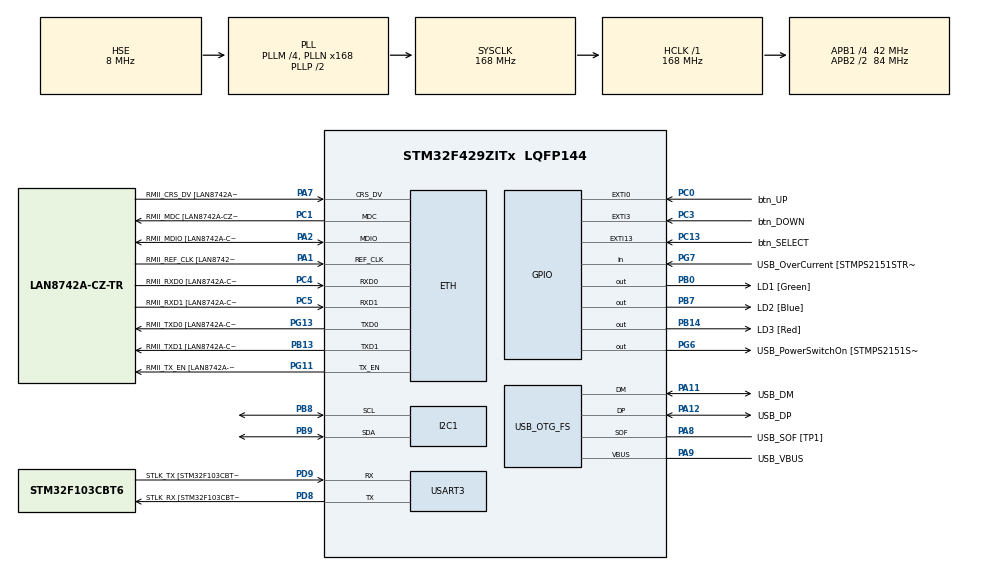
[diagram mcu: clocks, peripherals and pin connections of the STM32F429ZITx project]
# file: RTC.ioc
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ETH.MediaInterface=HAL_ETH_RMII_MODE
ETH.PHY_Name=LAN8742A_PHY_ADDRESS
ETH.PHY_Value=0
ETH.PhyAddress=0
Mcu.Family=STM32F4
Mcu.Name=STM32F429ZITx
Mcu.Package=LQFP144
NVIC.EXTI0_IRQn=true\:0\:0\:false\:true\:true\:3\:true\:true\:true
NVIC.EXTI3_IRQn=true\:0\:0\:false\:true\:true\:1\:true\:true\:true
NVIC.PriorityGroup=NVIC_PRIORITYGROUP_4
PA1.GPIO_Label=RMII_REF_CLK [LAN8742A-CZ-TR_REFCLK0]
PA1.Mode=RMII
PA1.Signal=ETH_REF_CLK
PA10.GPIO_Label=USB_ID
PA10.Signal=USB_OTG_FS_ID
PA11.GPIO_Label=USB_DM
PA11.Mode=Device_Only
PA11.Signal=USB_OTG_FS_DM
PA12.GPIO_Label=USB_DP
PA12.Mode=Device_Only
PA12.Signal=USB_OTG_FS_DP
PA13.GPIO_Label=TMS
PA13.Mode=Serial_Wire
PA13.Signal=SYS_JTMS-SWDIO
PA14.GPIO_Label=TCK
PA14.Mode=Serial_Wire
PA14.Signal=SYS_JTCK-SWCLK
PA2.GPIO_Label=RMII_MDIO [LAN8742A-CZ-TR_MDIO]
PA2.Mode=RMII
PA2.Signal=ETH_MDIO
PA7.GPIO_Label=RMII_CRS_DV [LAN8742A-CZ-TR_CRS_DV]
PA7.Mode=RMII
PA7.Signal=ETH_CRS_DV
PA8.GPIO_Label=USB_SOF [TP1]
PA8.Mode=Activate_SOF_FS
PA8.Signal=USB_OTG_FS_SOF
PA9.GPIO_Label=USB_VBUS
PA9.Mode=Activate_VBUS
PA9.Signal=USB_OTG_FS_VBUS
PB0.GPIO_Label=LD1 [Green]
PB0.Signal=GPIO_Output
PB13.GPIO_Label=RMII_TXD1 [LAN8742A-CZ-TR_TXD1]
PB13.Mode=RMII
PB13.Signal=ETH_TXD1
PB14.GPIO_Label=LD3 [Red]
PB14.Signal=GPIO_Output
PB7.GPIO_Label=LD2 [Blue]
PB7.Signal=GPIO_Output
PB8.Mode=I2C
PB8.Signal=I2C1_SCL
PB9.Mode=I2C
PB9.Signal=I2C1_SDA
PC0.GPIO_Label=btn_UP
PC0.GPIO_PuPd=GPIO_PULLUP
PC0.Signal=GPXTI0
PC1.GPIO_Label=RMII_MDC [LAN8742A-CZ-TR_MDC]
PC1.Mode=RMII
PC1.Signal=ETH_MDC
PC13.GPIO_Label=btn_SELECT
PC13.GPIO_ModeDefaultEXTI=GPIO_MODE_IT_RISING
PC13.GPIO_PuPd=GPIO_NOPULL
PC13.Signal=GPXTI13
PC14/OSC32_IN.Mode=LSE-External-Oscillator
PC14/OSC32_IN.Signal=RCC_OSC32_IN
PC15/OSC32_OUT.Mode=LSE-External-Oscillator
PC15/OSC32_OUT.Signal=RCC_OSC32_OUT
PC3.GPIO_Label=btn_DOWN
PC3.GPIO_PuPd=GPIO_PULLUP
PC3.Signal=GPXTI3
PC4.GPIO_Label=RMII_RXD0 [LAN8742A-CZ-TR_RXD0]
PC4.Mode=RMII
PC4.Signal=ETH_RXD0
PC5.GPIO_Label=RMII_RXD1 [LAN8742A-CZ-TR_RXD1]
PC5.Mode=RMII
PC5.Signal=ETH_RXD1
PD8.GPIO_Label=STLK_RX [STM32F103CBT6_PA3]
PD8.Mode=Asynchronous
PD8.Signal=USART3_TX
PD9.GPIO_Label=STLK_TX [STM32F103CBT6_PA2]
PD9.Mode=Asynchronous
PD9.Signal=USART3_RX
PG11.GPIO_Label=RMII_TX_EN [LAN8742A-CZ-TR_TXEN]
PG11.Mode=RMII
PG11.Signal=ETH_TX_EN
PG13.GPIO_Label=RMII_TXD0 [LAN8742A-CZ-TR_TXD0]
PG13.Mode=RMII
PG13.Signal=ETH_TXD0
PG6.GPIO_Label=USB_PowerSwitchOn [STMPS2151STR_EN]
PG6.Signal=GPIO_Output
PG7.GPIO_Label=USB_OverCurrent [STMPS2151STR_FAULT]
PG7.Signal=GPIO_Input
PH0/OSC_IN.GPIO_Label=MCO [STM32F103CBT6_PA8]
PH0/OSC_IN.Mode=HSE-External-Clock-Source
PH0/OSC_IN.Signal=RCC_OSC_IN
PH1/OSC_OUT.Mode=HSE-External-Clock-Source
PH1/OSC_OUT.Signal=RCC_OSC_OUT
ProjectManager.HeapSize=0x200
ProjectManager.StackSize=0x400
ProjectManager.TargetToolchain=STM32CubeIDE
RCC.48MHZClocksFreq_Value=48000000
RCC.AHBFreq_Value=168000000
RCC.APB1CLKDivider=RCC_HCLK_DIV4
RCC.APB1Freq_Value=42000000
RCC.APB1TimFreq_Value=84000000
RCC.APB2CLKDivider=RCC_HCLK_DIV2
RCC.APB2Freq_Value=84000000
RCC.APB2TimCLKDivider=2
RCC.APB2TimFreq_Value=168000000
RCC.CortexFreq_Value=168000000
RCC.HCLKFreq_Value=168000000
RCC.HSE_VALUE=8000000
RCC.HSI_VALUE=16000000
RCC.PLLM=4
RCC.PLLMUL=RCC_PLL_MUL9
RCC.PLLN=168
RCC.PLLQ=7
RCC.PRESCALERUSB=RCC_USBCLKSOURCE_PLL_DIV1_5
RCC.RCC_RTC_Clock_Source=RCC_RTCCLKSOURCE_LSE
RCC.RCC_RTC_Clock_SourceVirtual=RCC_RTCCLKSOURCE_LSE
RCC.SYSCLKFreq_VALUE=168000000
RCC.SYSCLKSource=RCC_SYSCLKSOURCE_PLLCLK
RCC.SYSCLKSourceVirtual=RCC_SYSCLKSOURCE_PLLCLK
RCC.USBFreq_Value=48000000
RCC.VCOOutputFreq_Value=336000000
RTC.Date=27
RTC.Hours=12
RTC.Month=RTC_MONTH_OCTOBER
RTC.WeekDay=RTC_WEEKDAY_FRIDAY
RTC.Year=23
USART3.VirtualMode=VM_ASYNC
USB_OTG_FS.VirtualMode=Device_Only
VP_RTC_VS_RTC_Activate.Mode=RTC_Enabled
VP_RTC_VS_RTC_Calendar.Mode=RTC_Calendar
board=NUCLEO-F429ZI

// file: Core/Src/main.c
/* USER CODE BEGIN Header */
/**
  ******************************************************************************
  * @file           : main.c
  * @brief          : Main program body
  ******************************************************************************
  * @attention
  *
  * Copyright (c) 2023 STMicroelectronics.
  * All rights reserved.
  *
  * This software is licensed under terms that can be found in the LICENSE file
  * in the root directory of this software component.
  * If no LICENSE file comes with this software, it is provided AS-IS.
  *
  ******************************************************************************
  */
/* USER CODE END Header */
#include "main.h"
#include "eth.h"
#include "i2c.h"
#include "rtc.h"
#include "usart.h"
#include "usb_otg.h"
#include "gpio.h"

/* USER CODE BEGIN Includes */
#include "string.h"
#include "stdio.h"
/* USER CODE END Includes */

/* USER CODE BEGIN PD */
#define LCD_ADDR (0x27 << 1)
/* USER CODE END PD */

/* USER CODE BEGIN PV */
char uart_buf[70];
char showTime[30] = {0};
char showDate[30] = {0};
char ampm[2][3] = {"AM", "PM"};
/* USER CODE END PV */

void SystemClock_Config(void);
static void MX_NVIC_Init(void);
/* USER CODE BEGIN PFP */
void LCD_Init(uint8_t lcd_addr);
void LCD_SendCommand(uint8_t lcd_addr, uint8_t cmd);
void LCD_SendString(uint8_t lcd_addr, char *str);
/* USER CODE END PFP */

/* USER CODE BEGIN 0 */
void get_time(void)
{
	RTC_DateTypeDef sDate;
	RTC_TimeTypeDef sTime;
	HAL_RTC_GetTime(&hrtc, &sTime, RTC_FORMAT_BIN);
	HAL_RTC_GetDate(&hrtc, &sDate, RTC_FORMAT_BIN);

	sprintf((char*)showDate, "%04d-%02d-%02d", 2000+sDate.Year, sDate.Month, sDate.Date);
	sprintf((char*)showTime, "%s %02d:%02d:%02d",ampm[sTime.TimeFormat >> 6], sTime.Hours, sTime.Minutes, sTime.Seconds);
}
/* USER CODE END 0 */

int main(void)
{

  /* MCU Configuration--------------------------------------------------------*/

  /* Reset of all peripherals, Initializes the Flash interface and the Systick. */
  HAL_Init();

  /* Configure the system clock */
  SystemClock_Config();

  /* Initialize all configured peripherals */
  MX_GPIO_Init();
  MX_ETH_Init();
  MX_USART3_UART_Init();
  MX_USB_OTG_FS_PCD_Init();
  MX_RTC_Init();
  MX_I2C1_Init();

  /* Initialize interrupts */
  MX_NVIC_Init();
  /* USER CODE BEGIN 2 */
  LCD_Init(LCD_ADDR);
  /* USER CODE END 2 */

  /* Infinite loop */
  /* USER CODE BEGIN WHILE */
  while (1)
  {
	  get_time();

	  memset(uart_buf, 0, sizeof(uart_buf));
	  sprintf(uart_buf, "%s\t\r\n%s\t\r\n", showDate, showTime);
	  HAL_UART_Transmit(&huart3, (uint8_t *)uart_buf, strlen(uart_buf), 1000);

	  LCD_SendCommand(LCD_ADDR, 0b10000000);
	  LCD_SendString(LCD_ADDR, showDate);

  	  // set address to 0x40
	  LCD_SendCommand(LCD_ADDR, 0b11000000);
	  LCD_SendString(LCD_ADDR, showTime);
    /* USER CODE END WHILE */

  }
}

void SystemClock_Config(void)
{
  RCC_OscInitTypeDef RCC_OscInitStruct = {0};
  RCC_ClkInitTypeDef RCC_ClkInitStruct = {0};

  /** Configure the main internal regulator output voltage
  */
  __HAL_RCC_PWR_CLK_ENABLE();
  __HAL_PWR_VOLTAGESCALING_CONFIG(PWR_REGULATOR_VOLTAGE_SCALE1);

  /** Initializes the RCC Oscillators according to the specified parameters
  * in the RCC_OscInitTypeDef structure.
  */
  RCC_OscInitStruct.OscillatorType = RCC_OSCILLATORTYPE_HSE|RCC_OSCILLATORTYPE_LSE;
  RCC_OscInitStruct.HSEState = RCC_HSE_BYPASS;
  RCC_OscInitStruct.LSEState = RCC_LSE_ON;
  RCC_OscInitStruct.PLL.PLLState = RCC_PLL_ON;
  RCC_OscInitStruct.PLL.PLLSource = RCC_PLLSOURCE_HSE;
  RCC_OscInitStruct.PLL.PLLM = 4;
  RCC_OscInitStruct.PLL.PLLN = 168;
  RCC_OscInitStruct.PLL.PLLP = RCC_PLLP_DIV2;
  RCC_OscInitStruct.PLL.PLLQ = 7;
  if (HAL_RCC_OscConfig(&RCC_OscInitStruct) != HAL_OK)
  {
    Error_Handler();
  }

  /** Initializes the CPU, AHB and APB buses clocks
  */
  RCC_ClkInitStruct.ClockType = RCC_CLOCKTYPE_HCLK|RCC_CLOCKTYPE_SYSCLK
                              |RCC_CLOCKTYPE_PCLK1|RCC_CLOCKTYPE_PCLK2;
  RCC_ClkInitStruct.SYSCLKSource = RCC_SYSCLKSOURCE_PLLCLK;
  RCC_ClkInitStruct.AHBCLKDivider = RCC_SYSCLK_DIV1;
  RCC_ClkInitStruct.APB1CLKDivider = RCC_HCLK_DIV4;
  RCC_ClkInitStruct.APB2CLKDivider = RCC_HCLK_DIV2;

  if (HAL_RCC_ClockConfig(&RCC_ClkInitStruct, FLASH_LATENCY_5) != HAL_OK)
  {
    Error_Handler();
  }
}

/**
  * @brief NVIC Configuration.
  * @retval None
  */
static void MX_NVIC_Init(void)
{
  /* EXTI3_IRQn interrupt configuration */
  HAL_NVIC_SetPriority(EXTI3_IRQn, 0, 0);
  HAL_NVIC_EnableIRQ(EXTI3_IRQn);
  /* EXTI0_IRQn interrupt configuration */
  HAL_NVIC_SetPriority(EXTI0_IRQn, 0, 0);
  HAL_NVIC_EnableIRQ(EXTI0_IRQn);
}

/* USER CODE BEGIN 4 */
void HAL_GPIO_EXTI_Callback(uint16_t GPIO_Pin)
{
	static uint32_t before_tick = 0;

	if(GPIO_Pin == GPIO_PIN_0)
	{
		if (HAL_GetTick() - before_tick >= 300)
		{
			before_tick = HAL_GetTick();

			RTC_TimeTypeDef sTime;
			HAL_RTC_GetTime(&hrtc, &sTime, RTC_FORMAT_BIN);

			sTime.Seconds++;

			if (sTime.Seconds >= 60)
			{
				sTime.Seconds = 0;
				sTime.Minutes++;

				if (sTime.Minutes >= 60)
				{
					sTime.Minutes = 0;
					sTime.Hours++;

					if (sTime.Hours >= 24)
					{
						sTime.Hours = 0;
					}
				}
			}

			HAL_RTC_SetTime(&hrtc, &sTime, RTC_FORMAT_BIN);
		}
	}

	else if (GPIO_Pin == GPIO_PIN_3)
	{
		if (HAL_GetTick() - before_tick >= 300)
		{
			before_tick = HAL_GetTick();

			RTC_TimeTypeDef sTime;
			HAL_RTC_GetTime(&hrtc, &sTime, RTC_FORMAT_BIN);

			if (sTime.Seconds > 0)
			{
				sTime.Seconds--;
			}
			else
			{
				if (sTime.Minutes > 0)
				{
					sTime.Minutes--;
					sTime.Seconds = 59;
				}
				else
				{
					if (sTime.Hours > 0)
					{
						sTime.Hours--;
						sTime.Minutes = 59;
						sTime.Seconds = 59;
					}
					else
					{
						// ?���? 0 ?��?���? �?�? ?��?���? 처리
					}
				}
			}
		}
	}

	else if (GPIO_Pin == GPIO_PIN_13)
	{
		if (HAL_GetTick() - before_tick >= 300)
		{
			before_tick = HAL_GetTick();

			static int selection = 0; // 시간
			RTC_TimeTypeDef sTime;
			HAL_RTC_GetTime(&hrtc, &sTime, RTC_FORMAT_BIN);

			while(1)
			{
				if (GPIO_Pin == GPIO_PIN_13)
				{
					if (HAL_GetTick() - before_tick >= 300)
					{
						before_tick = HAL_GetTick();
						selection = 1; // 분

						if (GPIO_Pin == GPIO_PIN_13)
						{
							if (HAL_GetTick() - before_tick >= 300)
							{
								before_tick = HAL_GetTick();
								selection = 2; // 초

								if (GPIO_Pin == GPIO_PIN_13)
								{
									if (HAL_GetTick() - before_tick >= 300);
									break;
								}
							}
						}
					}
				}
			}
			HAL_RTC_SetTime(&hrtc, &sTime, RTC_FORMAT_BIN);
		}
	}
}
/* USER CODE END 4 */

void Error_Handler(void)
{
  __disable_irq();
  while (1)
  {
  }
}
